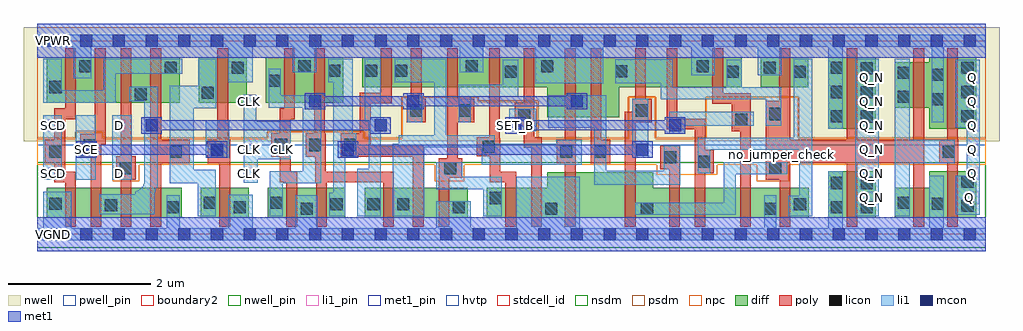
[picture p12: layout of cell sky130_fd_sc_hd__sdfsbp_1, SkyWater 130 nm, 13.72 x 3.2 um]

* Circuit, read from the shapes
.subckt sky130_fd_sc_hd__sdfsbp_1 CLK D Q Q_N SCD SCE SET_B VGND VNB VPB VPWR
XM1 n1 SCD VGND VNB sky130_fd_pr__nfet_01v8 w=0.42 l=0.15
XM2 n2 SCE n1 VNB sky130_fd_pr__nfet_01v8 w=0.42 l=0.15
XM3 n3 D n2 VNB sky130_fd_pr__nfet_01v8 w=0.42 l=0.15
XM4 VGND n4 n3 VNB sky130_fd_pr__nfet_01v8 w=0.42 l=0.15
XM5 VGND SCE n4 VNB sky130_fd_pr__nfet_01v8 w=0.42 l=0.15
XM6 VGND CLK n5 VNB sky130_fd_pr__nfet_01v8 w=0.42 l=0.15
XM7 n6 n5 VGND VNB sky130_fd_pr__nfet_01v8 w=0.42 l=0.15
XM8 n7 n5 n2 VNB sky130_fd_pr__nfet_01v8 w=0.42 l=0.15
XM9 n8 n6 n7 VNB sky130_fd_pr__nfet_01v8 w=0.42 l=0.15
XM10 VGND n9 n8 VNB sky130_fd_pr__nfet_01v8 w=0.42 l=0.15
XM11 n10 n7 n9 VNB sky130_fd_pr__nfet_01v8 w=0.42 l=0.15
XM12 VGND SET_B n10 VNB sky130_fd_pr__nfet_01v8 w=0.42 l=0.15
XM13 n11 n7 VGND VNB sky130_fd_pr__nfet_01v8 w=0.64 l=0.15
XM14 n12 n6 n11 VNB sky130_fd_pr__nfet_01v8 w=0.64 l=0.15
XM15 n13 n5 n12 VNB sky130_fd_pr__nfet_01v8 w=0.42 l=0.15
XM16 n14 n15 n13 VNB sky130_fd_pr__nfet_01v8 w=0.42 l=0.15
XM17 VGND SET_B n14 VNB sky130_fd_pr__nfet_01v8 w=0.42 l=0.15
XM18 n15 n12 VGND VNB sky130_fd_pr__nfet_01v8 w=0.42 l=0.15
XM19 Q_N n12 VGND VNB sky130_fd_pr__nfet_01v8 w=0.65 l=0.15
XM20 VGND n12 n16 VNB sky130_fd_pr__nfet_01v8 w=0.42 l=0.15
XM21 Q n16 VGND VNB sky130_fd_pr__nfet_01v8 w=0.65 l=0.15
XM22 VPWR SCD n17 VPB sky130_fd_pr__pfet_01v8_hvt w=0.64 l=0.15
XM23 n18 SCE VPWR VPB sky130_fd_pr__pfet_01v8_hvt w=0.64 l=0.15
XM24 n2 D n18 VPB sky130_fd_pr__pfet_01v8_hvt w=0.64 l=0.15
XM25 n17 n4 n2 VPB sky130_fd_pr__pfet_01v8_hvt w=0.64 l=0.15
XM26 VPWR SCE n4 VPB sky130_fd_pr__pfet_01v8_hvt w=0.64 l=0.15
XM27 VPWR CLK n5 VPB sky130_fd_pr__pfet_01v8_hvt w=0.64 l=0.15
XM28 n6 n5 VPWR VPB sky130_fd_pr__pfet_01v8_hvt w=0.64 l=0.15
XM29 n7 n6 n2 VPB sky130_fd_pr__pfet_01v8_hvt w=0.42 l=0.15
XM30 n19 n5 n7 VPB sky130_fd_pr__pfet_01v8_hvt w=0.42 l=0.15
XM31 VPWR n9 n19 VPB sky130_fd_pr__pfet_01v8_hvt w=0.42 l=0.15
XM32 n9 n7 VPWR VPB sky130_fd_pr__pfet_01v8_hvt w=0.42 l=0.15
XM33 VPWR SET_B n9 VPB sky130_fd_pr__pfet_01v8_hvt w=0.42 l=0.15
XM34 n20 n7 VPWR VPB sky130_fd_pr__pfet_01v8_hvt w=0.84 l=0.15
XM35 n12 n5 n20 VPB sky130_fd_pr__pfet_01v8_hvt w=0.84 l=0.15
XM36 n21 n6 n12 VPB sky130_fd_pr__pfet_01v8_hvt w=0.42 l=0.15
XM37 VPWR n15 n21 VPB sky130_fd_pr__pfet_01v8_hvt w=0.42 l=0.15
XM38 n12 SET_B VPWR VPB sky130_fd_pr__pfet_01v8_hvt w=0.42 l=0.15
XM39 n15 n12 VPWR VPB sky130_fd_pr__pfet_01v8_hvt w=0.42 l=0.15
XM40 Q_N n12 VPWR VPB sky130_fd_pr__pfet_01v8_hvt w=1 l=0.15
XM41 VPWR n12 n16 VPB sky130_fd_pr__pfet_01v8_hvt w=0.64 l=0.15
XM42 Q n16 VPWR VPB sky130_fd_pr__pfet_01v8_hvt w=1 l=0.15
.ends

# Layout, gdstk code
import gdstk
lib = gdstk.Library(unit=1e-6, precision=1e-09)
def R(c, l, rs):  # rectangles x0, y0, x1, y1
    for r in rs: c.add(gdstk.rectangle(r[:2], r[2:], *l))
def A(c, l, x, y, w, h, nx, ny, dx, dy):  # array of equal rectangles
    R(c, l, [(x+i*dx, y+j*dy, x+i*dx+w, y+j*dy+h) for i in range(nx) for j in range(ny)])
def P(c, l, *ps):  # polygons
    for p in ps: c.add(gdstk.Polygon(p, *l))
nwell_pin = (64, 16)
nwell = (64, 20)
diff = (65, 20)
poly = (66, 20)
licon = (66, 44)
li1_pin = (67, 16)
li1 = (67, 20)
mcon = (67, 44)
met1_pin = (68, 16)
met1 = (68, 20)
hvtp = (78, 44)
stdcell_id = (81, 4)
nsdm = (93, 44)
psdm = (94, 20)
npc = (95, 20)
pwell_pin = (122, 16)
boundary2 = (236, 0)

sky130_fd_sc_hd__sdfsbp_ = lib.new_cell('sky130_fd_sc_hd__sdfsbp_1')
R(sky130_fd_sc_hd__sdfsbp_, nwell_pin, [(0.15,2.635,0.32,2.805)])
R(sky130_fd_sc_hd__sdfsbp_, nwell, [(-0.19,1.305,13.53,2.91)])
R(sky130_fd_sc_hd__sdfsbp_, diff, [(0.135,0.235,2.035,0.655), (2.305,0.235,2.975,0.655), (3.245,0.235,4.335,0.655), (4.605,0.235,6.055,0.655), (11.12,0.235,11.79,0.885), (11.12,1.485,11.79,2.485), (0.135,1.845,2.005,2.485), (2.275,1.845,2.945,2.485), (3.215,1.845,4.305,2.485), (10.175,2.065,10.845,2.485)])
P(sky130_fd_sc_hd__sdfsbp_, diff, [(9.905,2.485),(4.575,2.485),(4.575,2.065),(7.17,2.065),(7.17,1.645),(8.185,1.645),(8.185,2.065),(9.905,2.065)],
  [(10.85,0.655),(8.665,0.655),(8.665,0.875),(7.17,0.875),(7.17,0.655),(6.325,0.655),(6.325,0.235),(10.85,0.235)],
  [(13.205,2.485),(12.545,2.485),(12.545,2.415),(12.06,2.415),(12.06,1.775),(12.545,1.775),(12.545,1.485),(13.205,1.485)],
  [(13.205,0.885),(12.545,0.885),(12.545,0.655),(12.06,0.655),(12.06,0.235),(13.205,0.235)])
P(sky130_fd_sc_hd__sdfsbp_, poly, [(0.545,0.88),(0.395,0.88),(0.395,1.62),(0.545,1.62),(0.545,2.615),(0.395,2.615),(0.395,1.77),(0.245,1.77),(0.245,1.325),(0.11,1.325),(0.11,0.995),(0.245,0.995),(0.245,0.73),(0.395,0.73),(0.395,0.105),(0.545,0.105)],
  [(0.965,2.615),(0.815,2.615),(0.815,1.415),(0.605,1.415),(0.605,1.085),(0.755,1.085),(0.755,0.105),(0.905,0.105),(0.905,1.265),(0.965,1.265)],
  [(1.385,1.095),(1.325,1.095),(1.325,2.615),(1.175,2.615),(1.175,1.095),(1.115,1.095),(1.115,0.765),(1.175,0.765),(1.175,0.105),(1.325,0.105),(1.325,0.765),(1.385,0.765)],
  [(2.145,1.325),(1.745,1.325),(1.745,2.615),(1.595,2.615),(1.595,0.105),(1.745,0.105),(1.745,0.995),(2.145,0.995)],
  [(2.715,1.325),(2.685,1.325),(2.685,2.615),(2.535,2.615),(2.535,1.325),(2.4,1.325),(2.4,0.995),(2.565,0.995),(2.565,0.105),(2.715,0.105)],
  [(3.655,0.88),(3.565,0.88),(3.565,1.62),(3.625,1.62),(3.625,2.615),(3.475,2.615),(3.475,1.77),(3.415,1.77),(3.415,1.42),(3.295,1.42),(3.295,1.09),(3.415,1.09),(3.415,0.73),(3.505,0.73),(3.505,0.105),(3.655,0.105)],
  [(5.015,0.88),(4.06,0.88),(4.06,1.42),(4.045,1.42),(4.045,2.615),(3.895,2.615),(3.895,1.42),(3.775,1.42),(3.775,1.09),(3.91,1.09),(3.91,0.73),(3.925,0.73),(3.925,0.105),(4.075,0.105),(4.075,0.73),(4.865,0.73),(4.865,0.105),(5.015,0.105)],
  [(5.435,1.24),(4.69,1.24),(4.69,1.84),(4.985,1.84),(4.985,2.615),(4.835,2.615),(4.835,1.99),(4.54,1.99),(4.54,1.42),(4.27,1.42),(4.27,1.09),(5.285,1.09),(5.285,0.105),(5.435,0.105)],
  [(5.465,1.905),(5.405,1.905),(5.405,2.615),(5.255,2.615),(5.255,1.905),(5.195,1.905),(5.195,1.575),(5.465,1.575)],
  [(6.145,1.905),(5.915,1.905),(5.915,2.615),(5.765,2.615),(5.765,1.065),(5.645,1.065),(5.645,0.105),(5.795,0.105),(5.795,0.795),(5.975,0.795),(5.975,1.065),(5.915,1.065),(5.915,1.575),(6.145,1.575)],
  [(6.735,0.88),(6.515,0.88),(6.515,1.35),(6.505,1.35),(6.505,2.615),(6.355,2.615),(6.355,1.365),(6.185,1.365),(6.185,1.095),(6.365,1.095),(6.365,0.73),(6.585,0.73),(6.585,0.105),(6.735,0.105)],
  [(7.095,1.365),(6.99,1.365),(6.99,2.615),(6.84,2.615),(6.84,1.845),(6.715,1.845),(6.715,1.515),(6.84,1.515),(6.84,1.215),(6.945,1.215),(6.945,0.105),(7.095,0.105)],
  [(7.575,1.325),(7.57,1.325),(7.57,2.615),(7.42,2.615),(7.42,1.325),(7.305,1.325),(7.305,0.995),(7.42,0.995),(7.42,0.105),(7.57,0.105),(7.57,0.995),(7.575,0.995)],
  [(8.055,1.325),(7.935,1.325),(7.935,2.615),(7.785,2.615),(7.785,0.995),(8.055,0.995)],
  [(8.64,1.905),(8.56,1.905),(8.56,2.615),(8.41,2.615),(8.41,1.905),(8.37,1.905),(8.37,1.725),(8.265,1.725),(8.265,0.105),(8.415,0.105),(8.415,1.575),(8.64,1.575)],
  [(9.035,1.245),(8.76,1.245),(8.76,0.915),(8.885,0.915),(8.885,0.105),(9.035,0.105)],
  [(9.515,1.185),(9.395,1.185),(9.395,1.625),(9,1.625),(9,2.615),(8.85,2.615),(8.85,1.475),(9.245,1.475),(9.245,0.105),(9.395,0.105),(9.395,0.855),(9.515,0.855)],
  [(10.035,1.985),(9.645,1.985),(9.645,2.615),(9.495,2.615),(9.495,1.835),(9.765,1.835),(9.765,1.445),(9.885,1.445),(9.885,0.105),(10.035,0.105)],
  [(12.47,2.615),(12.32,2.615),(12.32,1.325),(11.53,1.325),(11.53,2.615),(11.38,2.615),(11.38,1.325),(10.585,1.325),(10.585,2.615),(10.435,2.615),(10.435,1.875),(10.245,1.875),(10.245,0.765),(10.44,0.765),(10.44,0.105),(10.59,0.105),(10.59,0.995),(11.38,0.995),(11.38,0.105),(11.53,0.105),(11.53,0.995),(12.32,0.995),(12.32,0.105),(12.47,0.105)],
  [(12.95,1.325),(12.945,1.325),(12.945,2.615),(12.795,2.615),(12.795,1.325),(12.68,1.325),(12.68,0.995),(12.795,0.995),(12.795,0.105),(12.945,0.105),(12.945,0.995),(12.95,0.995)])
A(sky130_fd_sc_hd__sdfsbp_, licon, 11.58, 1.57, 0.17, 0.17, 1, 3, 0, 0.34)
A(sky130_fd_sc_hd__sdfsbp_, licon, 11.16, 1.575, 0.17, 0.17, 1, 3, 0, 0.34)
A(sky130_fd_sc_hd__sdfsbp_, licon, 12.995, 1.575, 0.17, 0.17, 1, 3, 0, 0.34)
R(sky130_fd_sc_hd__sdfsbp_, licon, [(3.705,0.275,3.875,0.445), (7.145,0.275,7.315,0.445), (8.49,0.275,8.66,0.445), (10.22,0.275,10.39,0.445), (1.825,0.295,1.995,0.465), (2.765,0.295,2.935,0.465), (5.845,0.295,6.015,0.465), (11.16,0.295,11.33,0.465), (11.58,0.295,11.75,0.465), (12.995,0.315,13.165,0.485), (0.955,0.32,1.125,0.49), (4.125,0.335,4.295,0.505), (4.645,0.335,4.815,0.505), (5.065,0.335,5.235,0.505), (10.64,0.335,10.81,0.505), (0.175,0.345,0.345,0.515), (12.575,0.345,12.745,0.515), (2.345,0.355,2.515,0.525), (3.285,0.355,3.455,0.525), (12.1,0.355,12.27,0.525), (6.365,0.425,6.535,0.595), (11.16,0.635,11.33,0.805), (11.58,0.635,11.75,0.805), (12.995,0.655,13.165,0.825), (1.165,0.845,1.335,1.015), (5.725,0.845,5.895,1.015), (10.295,0.845,10.465,1.015), (9.295,0.935,9.465,1.105), (8.815,0.995,8.985,1.165), (0.175,1.075,0.345,1.245), (1.865,1.075,2.035,1.245), (2.45,1.075,2.62,1.245), (7.355,1.075,7.525,1.245), (7.835,1.075,8.005,1.245), (12.73,1.075,12.9,1.245), (6.265,1.145,6.435,1.315), (0.655,1.165,0.825,1.335), (3.345,1.17,3.515,1.34), (3.825,1.17,3.995,1.34), (4.32,1.17,4.49,1.34), (9.815,1.525,9.985,1.695), (6.765,1.595,6.935,1.765), (10.295,1.605,10.465,1.775), (5.245,1.655,5.415,1.825), (5.925,1.655,6.095,1.825), (8.42,1.655,8.59,1.825), (12.575,1.815,12.745,1.985), (12.1,1.845,12.27,2.015), (1.375,1.885,1.545,2.055), (2.315,1.905,2.485,2.075), (0.175,1.985,0.345,2.155), (3.255,2.075,3.425,2.245), (12.575,2.155,12.745,2.325), (12.1,2.185,12.27,2.355), (6.575,2.2,6.745,2.37), (9.695,2.2,9.865,2.37), (10.635,2.2,10.805,2.37), (8.13,2.205,8.3,2.375), (4.095,2.215,4.265,2.385), (4.615,2.215,4.785,2.385), (5.035,2.215,5.205,2.385), (1.795,2.255,1.965,2.425), (2.735,2.255,2.905,2.425), (10.215,2.255,10.385,2.425), (0.595,2.275,0.765,2.445), (3.675,2.275,3.845,2.445), (6.025,2.275,6.195,2.445), (7.085,2.275,7.255,2.445), (9.275,2.275,9.445,2.445)])
A(sky130_fd_sc_hd__sdfsbp_, li1_pin, 11.645, 0.425, 0.17, 0.17, 1, 6, 0, 0.34)
A(sky130_fd_sc_hd__sdfsbp_, li1_pin, 13.07, 0.425, 0.17, 0.17, 1, 6, 0, 0.34)
R(sky130_fd_sc_hd__sdfsbp_, li1_pin, [(0.15,0.765,0.32,0.935), (1.07,0.765,1.24,0.935), (2.905,0.765,3.075,0.935), (0.61,1.105,0.78,1.275), (2.905,1.105,3.075,1.275), (3.365,1.105,3.535,1.275), (0.15,1.445,0.32,1.615), (1.07,1.445,1.24,1.615), (6.64,1.445,6.81,1.615), (2.905,1.785,3.075,1.955)])
R(sky130_fd_sc_hd__sdfsbp_, li1, [(11.5,0.255,11.83,2.465), (0.085,0.765,0.345,1.675), (0.545,0.765,0.825,1.675), (1.055,0.765,1.335,1.675), (2.37,1.075,2.7,1.6), (8.365,1.075,8.595,1.905), (6.64,1.445,7.015,1.765), (5.205,1.575,5.415,1.955)])
P(sky130_fd_sc_hd__sdfsbp_, li1, [(1.695,2.075),(1.295,2.075),(1.295,1.87),(1.505,1.87),(1.505,0.705),(1.495,0.705),(1.495,0.665),(1.475,0.665),(1.475,0.645),(1.46,0.645),(1.46,0.635),(1.445,0.635),(1.445,0.63),(1.44,0.63),(1.44,0.62),(1.43,0.62),(1.43,0.615),(1.42,0.615),(1.42,0.61),(1.405,0.61),(1.405,0.605),(1.395,0.605),(1.395,0.6),(1.38,0.6),(1.38,0.56),(0.875,0.56),(0.875,0.28),(1.655,0.28),(1.655,0.59),(1.66,0.59),(1.66,0.615),(1.67,0.615),(1.67,0.655),(1.695,0.655)],
  [(2.045,2.465),(0.935,2.465),(0.935,2.025),(0.345,2.025),(0.345,2.465),(0.085,2.465),(0.085,1.845),(1.105,1.845),(1.105,2.255),(2.045,2.255)],
  [(2.52,2.465),(2.27,2.465),(2.27,2.085),(1.865,2.085),(1.865,0.715),(2.26,0.715),(2.26,0.255),(2.515,0.255),(2.515,0.905),(2.2,0.905),(2.2,1.77),(2.52,1.77)],
  [(3.565,1.59),(3.085,1.59),(3.085,1.96),(2.905,1.96),(2.905,0.725),(3.1,0.725),(3.1,1.055),(3.565,1.055)],
  [(3.995,1.955),(3.425,1.955),(3.425,2.325),(3.255,2.325),(3.255,1.775),(3.735,1.775),(3.735,0.885),(3.27,0.885),(3.27,0.255),(3.455,0.255),(3.455,0.715),(3.995,0.715)],
  [(4.49,1.42),(4.44,1.42),(4.44,2.465),(4.095,2.465),(4.095,2.135),(4.165,2.135),(4.165,0.585),(4.11,0.585),(4.11,0.255),(4.335,0.255),(4.335,1.09),(4.49,1.09)],
  [(4.915,1.615),(4.83,1.615),(4.83,2.465),(4.61,2.465),(4.61,1.59),(4.66,1.59),(4.66,0.92),(4.505,0.92),(4.505,0.255),(4.83,0.255),(4.83,1.445),(4.915,1.445)],
  [(13.34,2.805),(0,2.805),(0,2.635),(0.515,2.635),(0.515,2.195),(0.765,2.195),(0.765,2.635),(2.69,2.635),(2.69,2.14),(3.03,2.14),(3.03,2.635),(3.595,2.635),(3.595,2.275),(3.925,2.275),(3.925,2.635),(5.945,2.635),(5.945,2.275),(6.275,2.275),(6.275,2.635),(7.005,2.635),(7.005,2.125),(7.96,2.125),(7.96,2.635),(9.195,2.635),(9.195,2.235),(9.525,2.235),(9.525,2.635),(10.135,2.635),(10.135,2.235),(10.465,2.235),(10.465,2.635),(11.12,2.635),(11.12,1.485),(11.33,1.485),(11.33,2.635),(12.575,2.635),(12.575,1.575),(12.745,1.575),(12.745,2.635),(13.34,2.635)],
  [(13.34,0.085),(12.745,0.085),(12.745,0.825),(12.54,0.825),(12.54,0.085),(11.33,0.085),(11.33,0.885),(11.12,0.885),(11.12,0.085),(10.39,0.085),(10.39,0.545),(10.22,0.545),(10.22,0.085),(7.63,0.085),(7.63,0.805),(6.735,0.805),(6.735,0.085),(6.095,0.085),(6.095,0.465),(5.61,0.465),(5.61,0.085),(3.94,0.085),(3.94,0.545),(3.63,0.545),(3.63,0.085),(3.03,0.085),(3.03,0.555),(2.69,0.555),(2.69,0.085),(2.005,0.085),(2.005,0.545),(1.825,0.545),(1.825,0.085),(0.48,0.085),(0.48,0.595),(0.085,0.595),(0.085,0.085),(0,0.085),(0,-0.085),(13.34,-0.085)],
  [(6.535,0.805),(5.975,0.805),(5.975,1.015),(5.61,1.015),(5.61,0.635),(6.275,0.635),(6.275,0.255),(6.535,0.255)],
  [(13.255,2.45),(12.915,2.45),(12.915,1.495),(13.07,1.495),(13.07,0.825),(12.915,0.825),(12.915,0.275),(13.255,0.275)],
  [(6.765,2.45),(6.55,2.45),(6.55,2.105),(5.925,2.105),(5.925,1.575),(6.095,1.575),(6.095,1.935),(6.765,1.935)],
  [(7.66,1.325),(7.3,1.325),(7.3,1.275),(6.435,1.275),(6.435,1.395),(5.755,1.395),(5.755,2.465),(5.03,2.465),(5.03,2.135),(5.585,2.135),(5.585,1.395),(5.085,1.395),(5.085,1.275),(5,1.275),(5,0.255),(5.44,0.255),(5.44,1.225),(6.25,1.225),(6.25,0.975),(7.66,0.975)],
  [(9.04,1.245),(8.81,1.245),(8.81,0.895),(8.005,0.895),(8.005,1.955),(7.19,1.955),(7.19,1.495),(7.835,1.495),(7.835,0.695),(9.04,0.695)],
  [(10.075,1.725),(8.885,1.725),(8.885,1.415),(9.11,1.415),(9.11,1.525),(10.075,1.525)],
  [(10.465,2.065),(9.91,2.065),(9.91,2.45),(9.695,2.45),(9.695,2.065),(8.935,2.065),(8.935,2.46),(8.13,2.46),(8.13,2.125),(8.765,2.125),(8.765,1.895),(10.245,1.895),(10.245,1.525),(10.465,1.525)],
  [(10.545,1.015),(9.655,1.015),(9.655,0.445),(8.41,0.445),(8.41,0.275),(9.825,0.275),(9.825,0.845),(10.545,0.845)],
  [(10.895,2.465),(10.635,2.465),(10.635,1.355),(9.29,1.355),(9.29,0.855),(9.465,0.855),(9.465,1.185),(10.715,1.185),(10.715,0.54),(10.56,0.54),(10.56,0.255),(10.895,0.255)],
  [(12.9,1.325),(12.27,1.325),(12.27,2.465),(12.06,2.465),(12.06,0.255),(12.27,0.255),(12.27,0.995),(12.9,0.995)])
A(sky130_fd_sc_hd__sdfsbp_, mcon, 0.145, -0.085, 0.17, 0.17, 29, 2, 0.46, 2.72)
R(sky130_fd_sc_hd__sdfsbp_, mcon, [(0.61,1.105,0.78,1.275), (2.445,1.105,2.615,1.275), (4.285,1.105,4.455,1.275), (8.425,1.105,8.595,1.275), (1.525,1.445,1.695,1.615), (4.745,1.445,4.915,1.615), (6.64,1.445,6.81,1.615), (8.885,1.445,9.055,1.615), (3.825,1.785,3.995,1.955), (5.205,1.785,5.375,1.955), (7.505,1.785,7.675,1.955)])
R(sky130_fd_sc_hd__sdfsbp_, met1_pin, [(0.15,-0.085,0.32,0.085), (0.15,2.635,0.32,2.805)])
P(sky130_fd_sc_hd__sdfsbp_, met1, [(2.675,1.305),(2.385,1.305),(2.385,1.26),(0.84,1.26),(0.84,1.305),(0.55,1.305),(0.55,1.075),(0.84,1.075),(0.84,1.12),(2.385,1.12),(2.385,1.075),(2.675,1.075)],
  [(4.975,1.645),(4.685,1.645),(4.685,1.6),(1.755,1.6),(1.755,1.645),(1.465,1.645),(1.465,1.415),(1.755,1.415),(1.755,1.46),(4.685,1.46),(4.685,1.415),(4.975,1.415)],
  [(7.735,1.985),(7.445,1.985),(7.445,1.94),(5.435,1.94),(5.435,1.985),(5.145,1.985),(5.145,1.94),(4.055,1.94),(4.055,1.985),(3.765,1.985),(3.765,1.755),(4.055,1.755),(4.055,1.8),(5.145,1.8),(5.145,1.755),(5.435,1.755),(5.435,1.8),(7.445,1.8),(7.445,1.755),(7.735,1.755)],
  [(8.655,1.305),(8.365,1.305),(8.365,1.26),(4.515,1.26),(4.515,1.305),(4.225,1.305),(4.225,1.075),(4.515,1.075),(4.515,1.12),(8.365,1.12),(8.365,1.075),(8.655,1.075)],
  [(9.115,1.645),(8.825,1.645),(8.825,1.6),(6.87,1.6),(6.87,1.645),(6.58,1.645),(6.58,1.415),(6.87,1.415),(6.87,1.46),(8.825,1.46),(8.825,1.415),(9.115,1.415)])
R(sky130_fd_sc_hd__sdfsbp_, hvtp, [(0,1.25,13.34,2.72)])
R(sky130_fd_sc_hd__sdfsbp_, stdcell_id, [(0,0,13.34,2.72)])
R(sky130_fd_sc_hd__sdfsbp_, nsdm, [(0,-0.19,13.34,1.015)])
P(sky130_fd_sc_hd__sdfsbp_, psdm, [(13.34,2.91),(0,2.91),(0,1.355),(0.545,1.355),(0.545,1.445),(0.935,1.445),(0.935,1.355),(3.235,1.355),(3.235,1.45),(4.6,1.45),(4.6,1.355),(5.125,1.355),(5.125,1.935),(6.205,1.935),(6.205,1.875),(7.045,1.875),(7.045,1.355),(8.31,1.355),(8.31,1.935),(8.7,1.935),(8.7,1.355),(9.4,1.355),(9.4,1.935),(10.71,1.935),(10.71,1.355),(13.34,1.355)])
P(sky130_fd_sc_hd__sdfsbp_, npc, [(13.34,1.345),(10.7,1.345),(10.7,1.925),(9.41,1.925),(9.41,1.345),(8.69,1.345),(8.69,1.925),(8.32,1.925),(8.32,1.345),(7.035,1.345),(7.035,1.865),(6.195,1.865),(6.195,1.925),(5.135,1.925),(5.135,1.345),(4.59,1.345),(4.59,1.44),(3.245,1.44),(3.245,1.345),(0.925,1.345),(0.925,1.435),(0.555,1.435),(0.555,1.345),(0,1.345),(0,0.975),(1.065,0.975),(1.065,0.745),(1.435,0.745),(1.435,0.975),(5.59,0.975),(5.59,0.745),(6.005,0.745),(6.005,0.975),(8.71,0.975),(8.71,0.835),(9.565,0.835),(9.565,0.975),(10.115,0.975),(10.115,0.745),(10.565,0.745),(10.565,0.975),(13.34,0.975)])
R(sky130_fd_sc_hd__sdfsbp_, pwell_pin, [(0.15,-0.085,0.32,0.085)])
R(sky130_fd_sc_hd__sdfsbp_, boundary2, [(0,0,13.34,2.72)])
sky130_fd_sc_hd__sdfsbp_.add(gdstk.FlexPath([(0,0),(13.34,0)], 0.48, ends="flush", simple_path=True, layer=68, datatype=20))  # met1
sky130_fd_sc_hd__sdfsbp_.add(gdstk.FlexPath([(0,2.72),(13.34,2.72)], 0.48, ends="flush", simple_path=True, layer=68, datatype=20))  # met1
sky130_fd_sc_hd__sdfsbp_.add(gdstk.Label('SCD', (0.23,0.85), layer=67, texttype=5))
sky130_fd_sc_hd__sdfsbp_.add(gdstk.Label('CLK', (2.99,1.87), layer=67, texttype=5))
sky130_fd_sc_hd__sdfsbp_.add(gdstk.Label('Q_N', (11.73,1.87), layer=67, texttype=5))
sky130_fd_sc_hd__sdfsbp_.add(gdstk.Label('D', (1.155,1.53), layer=67, texttype=5))
sky130_fd_sc_hd__sdfsbp_.add(gdstk.Label('Q_N', (11.73,2.21), layer=67, texttype=5))
sky130_fd_sc_hd__sdfsbp_.add(gdstk.Label('SCD', (0.23,1.53), layer=67, texttype=5))
sky130_fd_sc_hd__sdfsbp_.add(gdstk.Label('Q_N', (11.73,1.53), layer=67, texttype=5))
sky130_fd_sc_hd__sdfsbp_.add(gdstk.Label('Q_N', (11.73,1.19), layer=67, texttype=5))
sky130_fd_sc_hd__sdfsbp_.add(gdstk.Label('Q_N', (11.73,0.85), layer=67, texttype=5))
sky130_fd_sc_hd__sdfsbp_.add(gdstk.Label('Q_N', (11.73,0.51), layer=67, texttype=5))
sky130_fd_sc_hd__sdfsbp_.add(gdstk.Label('SET_B', (6.725,1.53), layer=67, texttype=5))
sky130_fd_sc_hd__sdfsbp_.add(gdstk.Label('SCE', (0.695,1.19), layer=67, texttype=5))
sky130_fd_sc_hd__sdfsbp_.add(gdstk.Label('D', (1.155,0.85), layer=67, texttype=5))
sky130_fd_sc_hd__sdfsbp_.add(gdstk.Label('CLK', (2.99,1.19), layer=67, texttype=5))
sky130_fd_sc_hd__sdfsbp_.add(gdstk.Label('CLK', (2.99,0.85), layer=67, texttype=5))
sky130_fd_sc_hd__sdfsbp_.add(gdstk.Label('CLK', (3.45,1.19), layer=67, texttype=5))
sky130_fd_sc_hd__sdfsbp_.add(gdstk.Label('Q', (13.155,1.87), layer=67, texttype=5))
sky130_fd_sc_hd__sdfsbp_.add(gdstk.Label('Q', (13.155,2.21), layer=67, texttype=5))
sky130_fd_sc_hd__sdfsbp_.add(gdstk.Label('Q', (13.155,1.19), layer=67, texttype=5))
sky130_fd_sc_hd__sdfsbp_.add(gdstk.Label('Q', (13.155,0.85), layer=67, texttype=5))
sky130_fd_sc_hd__sdfsbp_.add(gdstk.Label('Q', (13.11,0.51), layer=67, texttype=5))
sky130_fd_sc_hd__sdfsbp_.add(gdstk.Label('Q', (13.155,1.53), layer=67, texttype=5))
sky130_fd_sc_hd__sdfsbp_.add(gdstk.Label('VPWR', (0.23,2.72), layer=68, texttype=5))
sky130_fd_sc_hd__sdfsbp_.add(gdstk.Label('VGND', (0.23,0), layer=68, texttype=5))
sky130_fd_sc_hd__sdfsbp_.add(gdstk.Label('VPB', (0.235,2.72), layer=64, texttype=5))
sky130_fd_sc_hd__sdfsbp_.add(gdstk.Label('VNB', (0.235,0), layer=64, texttype=59))
sky130_fd_sc_hd__sdfsbp_.add(gdstk.Label('no_jumper_check', (10.46,1.125), layer=83, texttype=44))
sky130_fd_sc_hd__sdfsbp_.add(gdstk.Label('sdfsbp_1', (0,0), layer=83, texttype=44))
sky130_fd_sc_hd__sdfsbp_.add(gdstk.Label('no_jumper_check', (5.825,1.485), layer=83, texttype=44))

lib.write_gds('sky130_fd_sc_hd__sdfsbp_1.gds')
